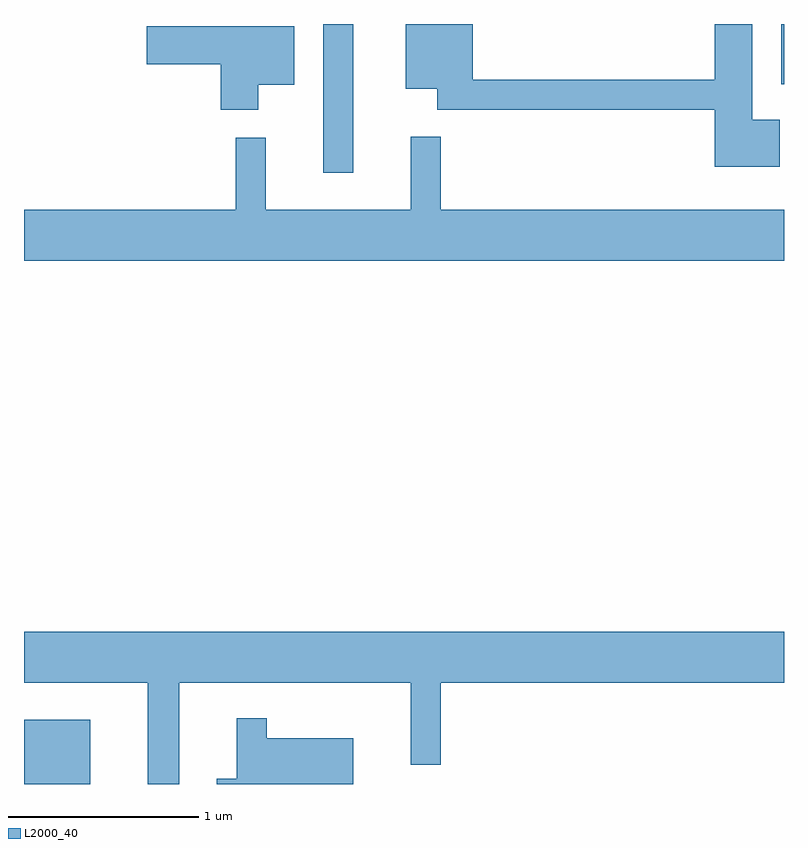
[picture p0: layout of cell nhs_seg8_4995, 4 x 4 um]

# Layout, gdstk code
import gdstk
lib = gdstk.Library(unit=1e-6, precision=1e-09)
def R(c, l, rs):  # rectangles x0, y0, x1, y1
    for r in rs: c.add(gdstk.rectangle(r[:2], r[2:], *l))
def P(c, l, *ps):  # polygons
    for p in ps: c.add(gdstk.Polygon(p, *l))
L2000_40 = (2000, 40)

nhs_seg8_4995 = lib.new_cell('nhs_seg8_4995')
R(nhs_seg8_4995, L2000_40, [(335.611,1820.342,335.959,1820.679), (337.186,1823.558,337.344,1824.342), (339.596,1824.026,339.611,1824.342)])
P(nhs_seg8_4995, L2000_40, [(339.589,1823.839),(339.444,1823.839),(339.444,1824.342),(339.246,1824.342),(339.246,1824.049),(337.974,1824.049),(337.974,1824.342),(337.621,1824.342),(337.621,1824.001),(337.786,1824.001),(337.786,1823.891),(339.246,1823.891),(339.246,1823.591),(339.589,1823.591)],
  [(336.844,1824.021),(337.034,1824.021),(337.034,1824.329),(336.256,1824.329),(336.256,1824.131),(336.646,1824.131),(336.646,1823.891),(336.844,1823.891)],
  [(339.611,1823.364),(337.804,1823.364),(337.804,1823.748),(337.646,1823.748),(337.646,1823.364),(336.884,1823.364),(336.884,1823.743),(336.726,1823.743),(336.726,1823.364),(335.611,1823.364),(335.611,1823.096),(339.611,1823.096)],
  [(335.611,1820.876),(336.261,1820.876),(336.261,1820.342),(336.429,1820.342),(336.429,1820.876),(337.646,1820.876),(337.646,1820.443),(337.804,1820.443),(337.804,1820.876),(339.611,1820.876),(339.611,1821.144),(335.611,1821.144)],
  [(337.344,1820.584),(336.889,1820.584),(336.889,1820.688),(336.731,1820.688),(336.731,1820.369),(336.626,1820.369),(336.626,1820.342),(337.344,1820.342)])

lib.write_gds('nhs_seg8_4995.gds')
